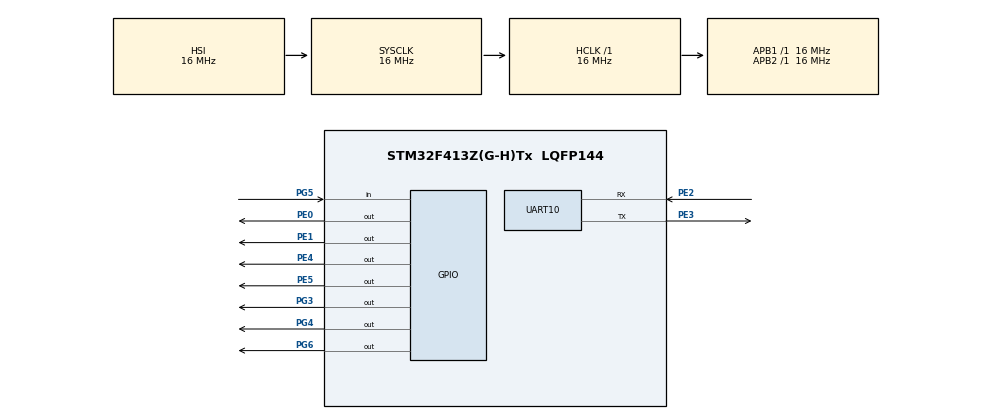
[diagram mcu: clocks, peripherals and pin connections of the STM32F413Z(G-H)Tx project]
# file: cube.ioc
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Mcu.Family=STM32F4
Mcu.Name=STM32F413Z(G-H)Tx
Mcu.Package=LQFP144
NVIC.PriorityGroup=NVIC_PRIORITYGROUP_4
PE0.Signal=GPIO_Output
PE1.Signal=GPIO_Output
PE2.Mode=Asynchronous
PE2.Signal=UART10_RX
PE3.Mode=Asynchronous
PE3.Signal=UART10_TX
PE4.Signal=GPIO_Output
PE5.Signal=GPIO_Output
PG3.Signal=GPIO_Output
PG4.Signal=GPIO_Output
PG5.Signal=GPIO_Input
PG6.Signal=GPIO_Output
PH0\ -\ OSC_IN.Mode=HSE-External-Oscillator
PH0\ -\ OSC_IN.Signal=RCC_OSC_IN
PH1\ -\ OSC_OUT.Mode=HSE-External-Oscillator
PH1\ -\ OSC_OUT.Signal=RCC_OSC_OUT
ProjectManager.HeapSize=0x200
ProjectManager.StackSize=0x400
ProjectManager.TargetToolchain=Makefile
RCC.AHBFreq_Value=16000000
RCC.APB1Freq_Value=16000000
RCC.APB1TimFreq_Value=16000000
RCC.APB2Freq_Value=16000000
RCC.APB2TimFreq_Value=16000000
RCC.CortexFreq_Value=16000000
RCC.HCLKFreq_Value=16000000
RCC.HSE_VALUE=12000000
RCC.PLLSourceVirtual=RCC_PLLSOURCE_HSE
RCC.SYSCLKFreq_VALUE=16000000
RCC.USBFreq_Value=72000000
RCC.VCOOutputFreq_Value=144000000
UART10.VirtualMode=Asynchronous
board=custom

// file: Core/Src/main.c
/* USER CODE BEGIN Header */
/**
  ******************************************************************************
  * @file           : main.c
  * @brief          : Main program body
  ******************************************************************************
  * @attention
  *
  * Copyright (c) 2026 STMicroelectronics.
  * All rights reserved.
  *
  * This software is licensed under terms that can be found in the LICENSE file
  * in the root directory of this software component.
  * If no LICENSE file comes with this software, it is provided AS-IS.
  *
  ******************************************************************************
  */
#include "control.h"
#include "flash.h"
#include "nand.h"
#include "stdio.h"
/* USER CODE END Header */
#include "main.h"
#include "usart.h"
#include "gpio.h"

void SystemClock_Config(void);

int main(void)
{

  /* MCU Configuration--------------------------------------------------------*/

  /* Reset of all peripherals, Initializes the Flash interface and the Systick. */
  HAL_Init();

  /* Configure the system clock */
  SystemClock_Config();

  /* Initialize all configured peripherals */
  MX_GPIO_Init();
  MX_UART10_Init();

  /* Infinite loop */
  /* USER CODE BEGIN WHILE */

  HAL_GPIO_WritePin(GPIOE, GPIO_PIN_0, GPIO_PIN_SET);

//   printf("\n\n");
//   uint32_t id = Flash_ReadID();
//   while (id != 0xC22017){ id = Flash_ReadID();}
//  // if (id == 0xC22017) {
//     // запись данных во всю флеш-память + сохранение в файл
//     HAL_GPIO_WritePin(GPIOE, GPIO_PIN_4, GPIO_PIN_SET);
//    // Flash_FillMemory(0x01);
//    // printf("\nWrite\n");
//     printf("\n");
//     HAL_Delay(100);
//     Flash_DumpAllMemory();

  // }
  // else {printf("\nerror\n");}

// Чтение ID
    uint32_t id = NAND_ReadID();
    printf("\r\nID: 0x%06X\r\n", id);
    HAL_Delay(500);
    if (id == 0xCD7070) {

        // // Читаем блок 0
        // uint8_t *buffer = malloc(128 * 1024);  // 128 КБ
        // if (buffer != NULL) {
        //     NAND_ReadBlock(0, buffer);
        //     free(buffer);
        // }

        //Дамп блока
        NAND_DumpBlock(0);

        // uint8_t buffer[256];
        // NAND_ReadPage(0x0001, 0, buffer, 256);

        // printf("Page 1 data:\r\n");
        // for (int i = 0; i < 256; i++) {
        //   if (i % 16 == 0) {printf("\r\n%04X: ", i);}
        //   printf("%02X ", buffer[i]);
        // }

    } else {
        printf("\r\nERROR!\r\n");
    }

  HAL_GPIO_WritePin(GPIOE, GPIO_PIN_0, GPIO_PIN_RESET);

  while (1)
  {
    /* USER CODE END WHILE */

    /* USER CODE BEGIN 3 */

    HAL_GPIO_WritePin(GPIOE, GPIO_PIN_4, GPIO_PIN_RESET);
    HAL_GPIO_WritePin(GPIOE, GPIO_PIN_5, GPIO_PIN_SET);

    //uint32_t id = Flash_ReadID();
    HAL_Delay(500);

    // if (id == 0xC22017) {
    //     uint8_t write_data[] = "Hello!";
    //     Flash_SectorErase(0x00000);
    //     Flash_PageProgram(0x00000, write_data, sizeof(write_data));
    //     uint8_t read_buffer[20];
    //     Flash_Read(0x00000, read_buffer, sizeof(write_data));
    //     printf("Read data: %s\r\n", read_buffer);

    // } else {
    //     printf("ERROR");
    // }

    HAL_GPIO_WritePin(GPIOE, GPIO_PIN_4, GPIO_PIN_SET);
    HAL_GPIO_WritePin(GPIOE, GPIO_PIN_5, GPIO_PIN_RESET);

    HAL_Delay(500);

  }
  /* USER CODE END 3 */
}

void SystemClock_Config(void)
{
  RCC_OscInitTypeDef RCC_OscInitStruct = {0};
  RCC_ClkInitTypeDef RCC_ClkInitStruct = {0};

  /** Configure the main internal regulator output voltage
  */
  __HAL_RCC_PWR_CLK_ENABLE();
  __HAL_PWR_VOLTAGESCALING_CONFIG(PWR_REGULATOR_VOLTAGE_SCALE1);

  /** Initializes the RCC Oscillators according to the specified parameters
  * in the RCC_OscInitTypeDef structure.
  */
  RCC_OscInitStruct.OscillatorType = RCC_OSCILLATORTYPE_HSI;
  RCC_OscInitStruct.HSIState = RCC_HSI_ON;
  RCC_OscInitStruct.HSICalibrationValue = RCC_HSICALIBRATION_DEFAULT;
  RCC_OscInitStruct.PLL.PLLState = RCC_PLL_NONE;
  if (HAL_RCC_OscConfig(&RCC_OscInitStruct) != HAL_OK)
  {
    Error_Handler();
  }

  /** Initializes the CPU, AHB and APB buses clocks
  */
  RCC_ClkInitStruct.ClockType = RCC_CLOCKTYPE_HCLK|RCC_CLOCKTYPE_SYSCLK
                              |RCC_CLOCKTYPE_PCLK1|RCC_CLOCKTYPE_PCLK2;
  RCC_ClkInitStruct.SYSCLKSource = RCC_SYSCLKSOURCE_HSI;
  RCC_ClkInitStruct.AHBCLKDivider = RCC_SYSCLK_DIV1;
  RCC_ClkInitStruct.APB1CLKDivider = RCC_HCLK_DIV1;
  RCC_ClkInitStruct.APB2CLKDivider = RCC_HCLK_DIV1;

  if (HAL_RCC_ClockConfig(&RCC_ClkInitStruct, FLASH_LATENCY_0) != HAL_OK)
  {
    Error_Handler();
  }
}

void Error_Handler(void)
{
  __disable_irq();
  while (1)
  {
  }
}
